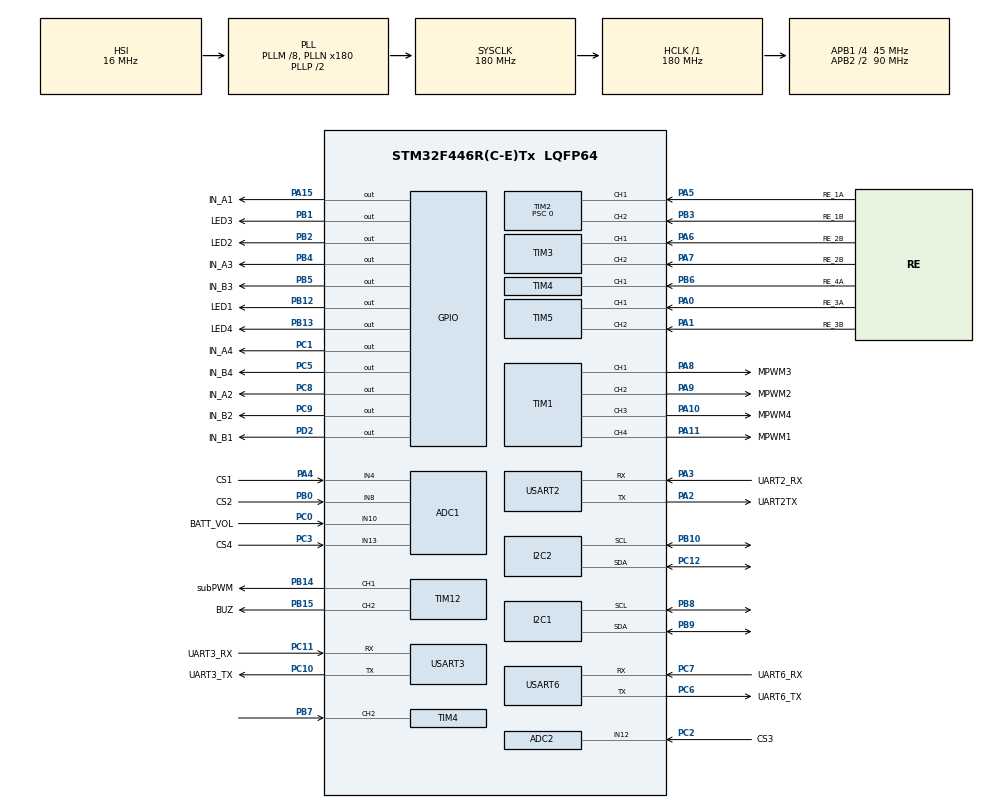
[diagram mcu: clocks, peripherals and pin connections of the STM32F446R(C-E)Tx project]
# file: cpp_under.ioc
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ADC1.Channel-0\#ChannelRegularConversion=ADC_CHANNEL_4
ADC1.ClockPrescaler=ADC_CLOCK_SYNC_PCLK_DIV4
ADC1.NbrOfConversionFlag=1
ADC1.Rank-0\#ChannelRegularConversion=1
ADC1.SamplingTime-0\#ChannelRegularConversion=ADC_SAMPLETIME_3CYCLES
ADC1.master=1
ADC2.Channel-0\#ChannelRegularConversion=ADC_CHANNEL_12
ADC2.ClockPrescaler=ADC_CLOCK_SYNC_PCLK_DIV4
ADC2.NbrOfConversionFlag=1
ADC2.Rank-0\#ChannelRegularConversion=1
ADC2.SamplingTime-0\#ChannelRegularConversion=ADC_SAMPLETIME_3CYCLES
Mcu.Family=STM32F4
Mcu.Name=STM32F446R(C-E)Tx
Mcu.Package=LQFP64
NVIC.PriorityGroup=NVIC_PRIORITYGROUP_4
NVIC.TIM2_IRQn=true\:0\:0\:false\:false\:true\:true\:true
PA0-WKUP.GPIO_Label=RE_3A
PA0-WKUP.Signal=S_TIM5_CH1
PA1.GPIO_Label=RE_3B
PA1.Signal=S_TIM5_CH2
PA10.GPIO_Label=MPWM4
PA10.Signal=S_TIM1_CH3
PA11.GPIO_Label=MPWM1
PA11.Signal=S_TIM1_CH4
PA13.GPIO_Label=SWDIO
PA13.Mode=Serial_Wire
PA13.Signal=SYS_JTMS-SWDIO
PA14.GPIO_Label=SWCLK
PA14.Mode=Serial_Wire
PA14.Signal=SYS_JTCK-SWCLK
PA15.GPIO_Label=IN_A1
PA15.Signal=GPIO_Output
PA2.GPIO_Label=UART2TX
PA2.Mode=Asynchronous
PA2.Signal=USART2_TX
PA3.GPIO_Label=UART2_RX
PA3.Mode=Asynchronous
PA3.Signal=USART2_RX
PA4.GPIO_Label=CS1
PA4.Signal=ADCx_IN4
PA5.GPIO_Label=RE_1A
PA5.Signal=S_TIM2_CH1_ETR
PA6.GPIO_Label=RE_2B
PA6.Signal=S_TIM3_CH1
PA7.GPIO_Label=RE_2B
PA7.Signal=S_TIM3_CH2
PA8.GPIO_Label=MPWM3
PA8.Signal=S_TIM1_CH1
PA9.GPIO_Label=MPWM2
PA9.Signal=S_TIM1_CH2
PB0.GPIO_Label=CS2
PB0.Signal=ADCx_IN8
PB1.GPIO_Label=LED3
PB1.Signal=GPIO_Output
PB10.Mode=I2C
PB10.Signal=I2C2_SCL
PB12.GPIO_Label=LED1
PB12.Signal=GPIO_Output
PB13.GPIO_Label=LED4
PB13.Signal=GPIO_Output
PB14.GPIO_Label=subPWM
PB14.Signal=S_TIM12_CH1
PB15.GPIO_Label=BUZ
PB15.Signal=S_TIM12_CH2
PB2.GPIO_Label=LED2
PB2.Signal=GPIO_Output
PB3.GPIO_Label=RE_1B
PB3.Signal=S_TIM2_CH2
PB4.GPIO_Label=IN_A3
PB4.Signal=GPIO_Output
PB5.GPIO_Label=IN_B3
PB5.Signal=GPIO_Output
PB6.GPIO_Label=RE_4A
PB6.Signal=S_TIM4_CH1
PB7.Signal=S_TIM4_CH2
PB8.Mode=I2C
PB8.Signal=I2C1_SCL
PB9.Mode=I2C
PB9.Signal=I2C1_SDA
PC0.GPIO_Label=BATT_VOL
PC0.Signal=ADCx_IN10
PC1.GPIO_Label=IN_A4
PC1.Signal=GPIO_Output
PC10.GPIO_Label=UART3_TX
PC10.Mode=Asynchronous
PC10.Signal=USART3_TX
PC11.GPIO_Label=UART3_RX
PC11.Mode=Asynchronous
PC11.Signal=USART3_RX
PC12.Mode=I2C
PC12.Signal=I2C2_SDA
PC14-OSC32_IN.Mode=LSE-External-Oscillator
PC14-OSC32_IN.Signal=RCC_OSC32_IN
PC15-OSC32_OUT.Mode=LSE-External-Oscillator
PC15-OSC32_OUT.Signal=RCC_OSC32_OUT
PC2.GPIO_Label=CS3
PC2.Signal=ADCx_IN12
PC3.GPIO_Label=CS4
PC3.Signal=ADCx_IN13
PC5.GPIO_Label=IN_B4
PC5.Signal=GPIO_Output
PC6.GPIO_Label=UART6_TX
PC6.Mode=Asynchronous
PC6.Signal=USART6_TX
PC7.GPIO_Label=UART6_RX
PC7.Mode=Asynchronous
PC7.Signal=USART6_RX
PC8.GPIO_Label=IN_A2
PC8.Signal=GPIO_Output
PC9.GPIO_Label=IN_B2
PC9.Signal=GPIO_Output
PD2.GPIO_Label=IN_B1
PD2.Signal=GPIO_Output
PH0-OSC_IN.Mode=HSE-External-Oscillator
PH0-OSC_IN.Signal=RCC_OSC_IN
PH1-OSC_OUT.Mode=HSE-External-Oscillator
PH1-OSC_OUT.Signal=RCC_OSC_OUT
ProjectManager.HeapSize=0x200
ProjectManager.StackSize=0x400
ProjectManager.TargetToolchain=STM32CubeIDE
RCC.AHBFreq_Value=180000000
RCC.APB1CLKDivider=RCC_HCLK_DIV4
RCC.APB1Freq_Value=45000000
RCC.APB1TimFreq_Value=90000000
RCC.APB2CLKDivider=RCC_HCLK_DIV2
RCC.APB2Freq_Value=90000000
RCC.APB2TimFreq_Value=180000000
RCC.CortexFreq_Value=180000000
RCC.HCLKFreq_Value=180000000
RCC.PLLM=8
RCC.PLLN=180
RCC.SYSCLKFreq_VALUE=180000000
RCC.SYSCLKSource=RCC_SYSCLKSOURCE_PLLCLK
RCC.USBFreq_Value=180000000
RCC.VCOOutputFreq_Value=360000000
SH.ADCx_IN10.0=ADC1_IN10,IN10
SH.ADCx_IN12.0=ADC2_IN12,IN12
SH.ADCx_IN12.1=ADC1_IN12,IN12
SH.ADCx_IN13.0=ADC1_IN13,IN13
SH.ADCx_IN4.0=ADC1_IN4,IN4
SH.ADCx_IN8.0=ADC1_IN8,IN8
SH.S_TIM12_CH1.0=TIM12_CH1,PWM Generation1 CH1
SH.S_TIM12_CH2.0=TIM12_CH2,PWM Generation2 CH2
SH.S_TIM1_CH1.0=TIM1_CH1,PWM Generation1 CH1
SH.S_TIM1_CH2.0=TIM1_CH2,PWM Generation2 CH2
SH.S_TIM1_CH3.0=TIM1_CH3,PWM Generation3 CH3
SH.S_TIM1_CH4.0=TIM1_CH4,PWM Generation4 CH4
SH.S_TIM2_CH1_ETR.0=TIM2_CH1,Encoder_Interface
SH.S_TIM2_CH2.0=TIM2_CH2,Encoder_Interface
SH.S_TIM3_CH1.0=TIM3_CH1,Encoder_Interface
SH.S_TIM3_CH2.0=TIM3_CH2,Encoder_Interface
SH.S_TIM4_CH1.0=TIM4_CH1,Encoder_Interface
SH.S_TIM4_CH2.0=TIM4_CH2,Encoder_Interface
SH.S_TIM5_CH1.0=TIM5_CH1,Encoder_Interface
SH.S_TIM5_CH2.0=TIM5_CH2,Encoder_Interface
TIM1.Channel-PWM\ Generation1\ CH1=TIM_CHANNEL_1
TIM1.Channel-PWM\ Generation2\ CH2=TIM_CHANNEL_2
TIM1.Channel-PWM\ Generation3\ CH3=TIM_CHANNEL_3
TIM1.Channel-PWM\ Generation4\ CH4=TIM_CHANNEL_4
TIM12.Channel-PWM\ Generation1\ CH1=TIM_CHANNEL_1
TIM12.Channel-PWM\ Generation2\ CH2=TIM_CHANNEL_2
TIM2.Period=9000
TIM2.Prescaler=0
USART2.VirtualMode=VM_ASYNC
USART3.VirtualMode=VM_ASYNC
USART6.VirtualMode=VM_ASYNC
VP_TIM12_VS_ClockSourceINT.Mode=Internal
VP_TIM1_VS_ClockSourceINT.Mode=Internal
VP_TIM9_VS_ClockSourceINT.Mode=Internal
board=custom

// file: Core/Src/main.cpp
/* USER CODE BEGIN Header */
/**
  ******************************************************************************
  * @file           : main.c
  * @brief          : Main program body
  ******************************************************************************
  * @attention
  *
  * <h2><center>&copy; Copyright (c) 2021 STMicroelectronics.
  * All rights reserved.</center></h2>
  *
  * This software component is licensed by ST under BSD 3-Clause license,
  * the "License"; You may not use this file except in compliance with the
  * License. You may obtain a copy of the License at:
  *                        opensource.org/licenses/BSD-3-Clause
  *
  ******************************************************************************
  */
/* USER CODE END Header */
#include "main.h"

/* USER CODE BEGIN Includes */
#include<array>
#include<cmath>
#include <bits/stdc++.h>
#include"../Inc/stm32_library/inc/MD.hpp"
#include"../Inc/stm32_library/inc/Rotary_Encoder.h"
#include"../Inc/inc/rad_to_pulse.h"
#include"../Inc/inc/circle.h"
#include"../Inc/inc/PID.h"
/* USER CODE END Includes */

ADC_HandleTypeDef hadc1;
ADC_HandleTypeDef hadc2;

I2C_HandleTypeDef hi2c1;
I2C_HandleTypeDef hi2c2;

TIM_HandleTypeDef htim1;
TIM_HandleTypeDef htim2;
TIM_HandleTypeDef htim3;
TIM_HandleTypeDef htim4;
TIM_HandleTypeDef htim5;
TIM_HandleTypeDef htim9;
TIM_HandleTypeDef htim12;

UART_HandleTypeDef huart2;
UART_HandleTypeDef huart3;
UART_HandleTypeDef huart6;

void SystemClock_Config(void);
static void MX_GPIO_Init(void);
static void MX_ADC1_Init(void);
static void MX_ADC2_Init(void);
static void MX_I2C1_Init(void);
static void MX_I2C2_Init(void);
static void MX_TIM1_Init(void);
static void MX_TIM2_Init(void);
static void MX_TIM3_Init(void);
static void MX_TIM4_Init(void);
static void MX_TIM12_Init(void);
static void MX_USART2_UART_Init(void);
static void MX_USART3_UART_Init(void);
static void MX_USART6_UART_Init(void);
static void MX_TIM5_Init(void);
static void MX_TIM9_Init(void);

/* USER CODE BEGIN 0 */
//static MD_stm test1(IN_A1_GPIO_Port, IN_A1_Pin, IN_B1_GPIO_Port, IN_B1_Pin, &htim1, TIM_CHANNEL_4);

void HAL_TIM_PeriodElapsedCallback(TIM_HandleTypeDef *htim){

}
/* USER CODE END 0 */

int main(void)
{

  /* MCU Configuration--------------------------------------------------------*/

  /* Reset of all peripherals, Initializes the Flash interface and the Systick. */
  HAL_Init();

  /* Configure the system clock */
  SystemClock_Config();

  /* Initialize all configured peripherals */
  MX_GPIO_Init();
  MX_ADC1_Init();
  MX_ADC2_Init();
  MX_I2C1_Init();
  MX_I2C2_Init();
  MX_TIM1_Init();
  MX_TIM2_Init();
  MX_TIM3_Init();
  MX_TIM4_Init();
  MX_TIM12_Init();
  MX_USART2_UART_Init();
  MX_USART3_UART_Init();
  MX_USART6_UART_Init();
  MX_TIM5_Init();
  MX_TIM9_Init();
  /* USER CODE BEGIN 2 */
  HAL_GPIO_WritePin(LED1_GPIO_Port, LED1_Pin, GPIO_PIN_SET);

    MD_stm Move_1(IN_A1_GPIO_Port, IN_A1_Pin, IN_B1_GPIO_Port, IN_B1_Pin, &htim1, TIM_CHANNEL_4);
    MD_stm Move_2(IN_A2_GPIO_Port, IN_A2_Pin, IN_B2_GPIO_Port, IN_B2_Pin, &htim1, TIM_CHANNEL_2);

    stm32_Rotary_Encoder Encoder_Right(&htim2);
	stm32_Rotary_Encoder Encoder_Left(&htim3);

	constexpr int rotary_encoder_resolution_r = -800,
			      rotary_encoder_resolution_l = -400;

	rad_to_pulse change_r(-800);
	rad_to_pulse change_l(-400);

	float Ku_r = 800;
	float Tu_r = 0.6;
	float Ku_l = 400;
	float Tu_l = 0.7;
    PosType_PID PID1(0.01, 0.4*Ku_r, 0.5*Tu_r, 0.125*Tu_r);
    PosType_PID PID2(0.01, 0.4*Ku_l, 0.5*Tu_l, 0.125*Tu_l);

    constexpr int32_t init_spd_pwm = 0;
	int32_t now_pwm_r = init_spd_pwm;
	int32_t now_pwm_l = init_spd_pwm;

	std::array<uint32_t, 2> Encoder_Count_r = {0}, Encoder_Count_l = {0};
	float Angular_Velocity_r, Angular_Velocity_l;

	float target_spd = 0;//change_r(target_val_rad);
	//change_l(target_val_rad);

	char variable[2]{
		48,//0
		120//x
	};

	char value[5];
	value[4] = 10;
	std::array<int, 4> num;

	int k1, k2;

  /* USER CODE END 2 */

  /* Infinite loop */
  /* USER CODE BEGIN WHILE */
uint32_t counter = 0;
uint32_t enc_counter = 0;
uint32_t tim_counter = 0;

float accel = 0.25;
constexpr float radius = 0.040;
    while (1)
    {
    	HAL_GPIO_TogglePin (LED1_GPIO_Port, LED1_Pin);
    	/*
    	 * rpm/15 = t
    	 * t   : time
    	 * rpm : revolution per minute
    	 * acceleration max : 0.25 [m/s^2]
    	 */

    	HAL_Delay(10);//control cycle about 100Hz

    	tim_counter++;
    	if(tim_counter > 1000){
    		while(1);
    	}

    	{//spd setter
    		if(tim_counter < 200){
    			target_spd += 0.01*accel/ (radius);
    		}else if(tim_counter < 800){

    		}else{
    			target_spd-= 0.01*accel/ (radius);
    		}
    	}
/*
    	if(__HAL_TIM_GET_COUNTER(&htim2) == 0){
    		__HAL_TIM_GET_COUNTER(&htim2) = 1;
    	}
    	if(__HAL_TIM_GET_COUNTER(&htim3) == 0){
			__HAL_TIM_GET_COUNTER(&htim3) = 1;
		}

    	k1 = now_pwm_r / __HAL_TIM_GET_COUNTER(&htim2)*0.1;
    	k2 = now_pwm_l / __HAL_TIM_GET_COUNTER(&htim3)*0.1;

*/
    	TIM_HandleTypeDef*htim = &htim2;
    	enc_counter += __HAL_TIM_GET_COUNTER(htim);
    	counter++;
    	if(counter == 10){//get transmit num
    		num[0] = (0xF000&enc_counter)/0x1000;
    		num[1] = (0x0F00&enc_counter)/0x0100;
    		num[2] = (0x00F0&enc_counter)/0x0010;
			num[3] = (0x000F&enc_counter)/0x0001;

			for(int i = 0; i < 4; i++){
				if(num[i] <= 9 && num[i] >= 0){
					value[i] = num[i] + 48;//num change to character of num
				}else if(num[i] <= 15 && num[i] >= 10){
					value[i] = num[i] + 55;//16 bit num from 10 to 15 change to character of A to F
				}else{
					value[i] = 89;//y
				}
				enc_counter = 0;
				counter = 0;
			}

    		HAL_UART_Transmit(&huart2, (uint8_t*)variable, sizeof(variable), 0xff);

    		HAL_UART_Transmit(&huart2, (uint8_t*)value, sizeof(value), 0xff);

			for(int i = 0; i < 4; i++){
				value[i] = 90;//z
			}
    	}

    	Encoder_Count_r[1] = Encoder_Count_r[0];
    	Encoder_Count_r[0] = Encoder_Right();
    	Encoder_Count_l[1] = Encoder_Count_l[0];
    	Encoder_Count_l[0] = Encoder_Left();

    	k1 = 1;
    	k2 = 1;
    	if(Encoder_Count_r[0] > 0xffff/2){
    		Encoder_Count_r[0] = 0xffff - Encoder_Count_r[0];
    		k1 = -1;
    	}

    	if(Encoder_Count_l[0] > 0xffff/2){
			Encoder_Count_l[0] = 0xffff - Encoder_Count_l[0];
			k2 = -1;
		}

    	Angular_Velocity_r = (Encoder_Count_r[0]) * 2*M_PI / (rotary_encoder_resolution_r*2) / 0.01*k1;
    	Angular_Velocity_l = (Encoder_Count_l[0]) * 2*M_PI / (rotary_encoder_resolution_l) / 0.01*k2;

    	float dif_spd_r = target_spd - Angular_Velocity_r;
    	float dif_spd_l = 2*M_PI - Angular_Velocity_l;

    	now_pwm_r += PID1(dif_spd_r);
    	now_pwm_l += PID2(dif_spd_l);

    	Move_1 = now_pwm_r;
    	//Move_2 = now_pwm_l;
    /* USER CODE END WHILE */

  }
}

void SystemClock_Config(void)
{
  RCC_OscInitTypeDef RCC_OscInitStruct = {0};
  RCC_ClkInitTypeDef RCC_ClkInitStruct = {0};

  /** Configure the main internal regulator output voltage
  */
  __HAL_RCC_PWR_CLK_ENABLE();
  __HAL_PWR_VOLTAGESCALING_CONFIG(PWR_REGULATOR_VOLTAGE_SCALE1);
  /** Initializes the RCC Oscillators according to the specified parameters
  * in the RCC_OscInitTypeDef structure.
  */
  RCC_OscInitStruct.OscillatorType = RCC_OSCILLATORTYPE_HSI;
  RCC_OscInitStruct.HSIState = RCC_HSI_ON;
  RCC_OscInitStruct.HSICalibrationValue = RCC_HSICALIBRATION_DEFAULT;
  RCC_OscInitStruct.PLL.PLLState = RCC_PLL_ON;
  RCC_OscInitStruct.PLL.PLLSource = RCC_PLLSOURCE_HSI;
  RCC_OscInitStruct.PLL.PLLM = 8;
  RCC_OscInitStruct.PLL.PLLN = 180;
  RCC_OscInitStruct.PLL.PLLP = RCC_PLLP_DIV2;
  RCC_OscInitStruct.PLL.PLLQ = 2;
  RCC_OscInitStruct.PLL.PLLR = 2;
  if (HAL_RCC_OscConfig(&RCC_OscInitStruct) != HAL_OK)
  {
    Error_Handler();
  }
  /** Activate the Over-Drive mode
  */
  if (HAL_PWREx_EnableOverDrive() != HAL_OK)
  {
    Error_Handler();
  }
  /** Initializes the CPU, AHB and APB buses clocks
  */
  RCC_ClkInitStruct.ClockType = RCC_CLOCKTYPE_HCLK|RCC_CLOCKTYPE_SYSCLK
                              |RCC_CLOCKTYPE_PCLK1|RCC_CLOCKTYPE_PCLK2;
  RCC_ClkInitStruct.SYSCLKSource = RCC_SYSCLKSOURCE_PLLCLK;
  RCC_ClkInitStruct.AHBCLKDivider = RCC_SYSCLK_DIV1;
  RCC_ClkInitStruct.APB1CLKDivider = RCC_HCLK_DIV4;
  RCC_ClkInitStruct.APB2CLKDivider = RCC_HCLK_DIV2;

  if (HAL_RCC_ClockConfig(&RCC_ClkInitStruct, FLASH_LATENCY_5) != HAL_OK)
  {
    Error_Handler();
  }
}

static void MX_ADC1_Init(void)
{

  ADC_ChannelConfTypeDef sConfig = {0};

  /** Configure the global features of the ADC (Clock, Resolution, Data Alignment and number of conversion)
  */
  hadc1.Instance = ADC1;
  hadc1.Init.ClockPrescaler = ADC_CLOCK_SYNC_PCLK_DIV4;
  hadc1.Init.Resolution = ADC_RESOLUTION_12B;
  hadc1.Init.ScanConvMode = DISABLE;
  hadc1.Init.ContinuousConvMode = DISABLE;
  hadc1.Init.DiscontinuousConvMode = DISABLE;
  hadc1.Init.ExternalTrigConvEdge = ADC_EXTERNALTRIGCONVEDGE_NONE;
  hadc1.Init.ExternalTrigConv = ADC_SOFTWARE_START;
  hadc1.Init.DataAlign = ADC_DATAALIGN_RIGHT;
  hadc1.Init.NbrOfConversion = 1;
  hadc1.Init.DMAContinuousRequests = DISABLE;
  hadc1.Init.EOCSelection = ADC_EOC_SINGLE_CONV;
  if (HAL_ADC_Init(&hadc1) != HAL_OK)
  {
    Error_Handler();
  }
  /** Configure for the selected ADC regular channel its corresponding rank in the sequencer and its sample time.
  */
  sConfig.Channel = ADC_CHANNEL_4;
  sConfig.Rank = 1;
  sConfig.SamplingTime = ADC_SAMPLETIME_3CYCLES;
  if (HAL_ADC_ConfigChannel(&hadc1, &sConfig) != HAL_OK)
  {
    Error_Handler();
  }

}

static void MX_ADC2_Init(void)
{

  ADC_ChannelConfTypeDef sConfig = {0};

  /** Configure the global features of the ADC (Clock, Resolution, Data Alignment and number of conversion)
  */
  hadc2.Instance = ADC2;
  hadc2.Init.ClockPrescaler = ADC_CLOCK_SYNC_PCLK_DIV4;
  hadc2.Init.Resolution = ADC_RESOLUTION_12B;
  hadc2.Init.ScanConvMode = DISABLE;
  hadc2.Init.ContinuousConvMode = DISABLE;
  hadc2.Init.DiscontinuousConvMode = DISABLE;
  hadc2.Init.ExternalTrigConvEdge = ADC_EXTERNALTRIGCONVEDGE_NONE;
  hadc2.Init.ExternalTrigConv = ADC_SOFTWARE_START;
  hadc2.Init.DataAlign = ADC_DATAALIGN_RIGHT;
  hadc2.Init.NbrOfConversion = 1;
  hadc2.Init.DMAContinuousRequests = DISABLE;
  hadc2.Init.EOCSelection = ADC_EOC_SINGLE_CONV;
  if (HAL_ADC_Init(&hadc2) != HAL_OK)
  {
    Error_Handler();
  }
  /** Configure for the selected ADC regular channel its corresponding rank in the sequencer and its sample time.
  */
  sConfig.Channel = ADC_CHANNEL_12;
  sConfig.Rank = 1;
  sConfig.SamplingTime = ADC_SAMPLETIME_3CYCLES;
  if (HAL_ADC_ConfigChannel(&hadc2, &sConfig) != HAL_OK)
  {
    Error_Handler();
  }

}

static void MX_I2C1_Init(void)
{

  hi2c1.Instance = I2C1;
  hi2c1.Init.ClockSpeed = 100000;
  hi2c1.Init.DutyCycle = I2C_DUTYCYCLE_2;
  hi2c1.Init.OwnAddress1 = 0;
  hi2c1.Init.AddressingMode = I2C_ADDRESSINGMODE_7BIT;
  hi2c1.Init.DualAddressMode = I2C_DUALADDRESS_DISABLE;
  hi2c1.Init.OwnAddress2 = 0;
  hi2c1.Init.GeneralCallMode = I2C_GENERALCALL_DISABLE;
  hi2c1.Init.NoStretchMode = I2C_NOSTRETCH_DISABLE;
  if (HAL_I2C_Init(&hi2c1) != HAL_OK)
  {
    Error_Handler();
  }

}

static void MX_I2C2_Init(void)
{

  hi2c2.Instance = I2C2;
  hi2c2.Init.ClockSpeed = 100000;
  hi2c2.Init.DutyCycle = I2C_DUTYCYCLE_2;
  hi2c2.Init.OwnAddress1 = 0;
  hi2c2.Init.AddressingMode = I2C_ADDRESSINGMODE_7BIT;
  hi2c2.Init.DualAddressMode = I2C_DUALADDRESS_DISABLE;
  hi2c2.Init.OwnAddress2 = 0;
  hi2c2.Init.GeneralCallMode = I2C_GENERALCALL_DISABLE;
  hi2c2.Init.NoStretchMode = I2C_NOSTRETCH_DISABLE;
  if (HAL_I2C_Init(&hi2c2) != HAL_OK)
  {
    Error_Handler();
  }

}

static void MX_TIM1_Init(void)
{

  TIM_ClockConfigTypeDef sClockSourceConfig = {0};
  TIM_MasterConfigTypeDef sMasterConfig = {0};
  TIM_OC_InitTypeDef sConfigOC = {0};
  TIM_BreakDeadTimeConfigTypeDef sBreakDeadTimeConfig = {0};

  htim1.Instance = TIM1;
  htim1.Init.Prescaler = 0;
  htim1.Init.CounterMode = TIM_COUNTERMODE_UP;
  htim1.Init.Period = 65535;
  htim1.Init.ClockDivision = TIM_CLOCKDIVISION_DIV1;
  htim1.Init.RepetitionCounter = 0;
  htim1.Init.AutoReloadPreload = TIM_AUTORELOAD_PRELOAD_DISABLE;
  if (HAL_TIM_Base_Init(&htim1) != HAL_OK)
  {
    Error_Handler();
  }
  sClockSourceConfig.ClockSource = TIM_CLOCKSOURCE_INTERNAL;
  if (HAL_TIM_ConfigClockSource(&htim1, &sClockSourceConfig) != HAL_OK)
  {
    Error_Handler();
  }
  if (HAL_TIM_PWM_Init(&htim1) != HAL_OK)
  {
    Error_Handler();
  }
  sMasterConfig.MasterOutputTrigger = TIM_TRGO_RESET;
  sMasterConfig.MasterSlaveMode = TIM_MASTERSLAVEMODE_DISABLE;
  if (HAL_TIMEx_MasterConfigSynchronization(&htim1, &sMasterConfig) != HAL_OK)
  {
    Error_Handler();
  }
  sConfigOC.OCMode = TIM_OCMODE_PWM1;
  sConfigOC.Pulse = 0;
  sConfigOC.OCPolarity = TIM_OCPOLARITY_HIGH;
  sConfigOC.OCNPolarity = TIM_OCNPOLARITY_HIGH;
  sConfigOC.OCFastMode = TIM_OCFAST_DISABLE;
  sConfigOC.OCIdleState = TIM_OCIDLESTATE_RESET;
  sConfigOC.OCNIdleState = TIM_OCNIDLESTATE_RESET;
  if (HAL_TIM_PWM_ConfigChannel(&htim1, &sConfigOC, TIM_CHANNEL_1) != HAL_OK)
  {
    Error_Handler();
  }
  if (HAL_TIM_PWM_ConfigChannel(&htim1, &sConfigOC, TIM_CHANNEL_2) != HAL_OK)
  {
    Error_Handler();
  }
  if (HAL_TIM_PWM_ConfigChannel(&htim1, &sConfigOC, TIM_CHANNEL_3) != HAL_OK)
  {
    Error_Handler();
  }
  if (HAL_TIM_PWM_ConfigChannel(&htim1, &sConfigOC, TIM_CHANNEL_4) != HAL_OK)
  {
    Error_Handler();
  }
  sBreakDeadTimeConfig.OffStateRunMode = TIM_OSSR_DISABLE;
  sBreakDeadTimeConfig.OffStateIDLEMode = TIM_OSSI_DISABLE;
  sBreakDeadTimeConfig.LockLevel = TIM_LOCKLEVEL_OFF;
  sBreakDeadTimeConfig.DeadTime = 0;
  sBreakDeadTimeConfig.BreakState = TIM_BREAK_DISABLE;
  sBreakDeadTimeConfig.BreakPolarity = TIM_BREAKPOLARITY_HIGH;
  sBreakDeadTimeConfig.AutomaticOutput = TIM_AUTOMATICOUTPUT_DISABLE;
  if (HAL_TIMEx_ConfigBreakDeadTime(&htim1, &sBreakDeadTimeConfig) != HAL_OK)
  {
    Error_Handler();
  }
  HAL_TIM_MspPostInit(&htim1);

}

static void MX_TIM2_Init(void)
{

  TIM_Encoder_InitTypeDef sConfig = {0};
  TIM_MasterConfigTypeDef sMasterConfig = {0};

  htim2.Instance = TIM2;
  htim2.Init.Prescaler = 0;
  htim2.Init.CounterMode = TIM_COUNTERMODE_UP;
  htim2.Init.Period = 65535;
  htim2.Init.ClockDivision = TIM_CLOCKDIVISION_DIV1;
  htim2.Init.AutoReloadPreload = TIM_AUTORELOAD_PRELOAD_DISABLE;
  sConfig.EncoderMode = TIM_ENCODERMODE_TI1;
  sConfig.IC1Polarity = TIM_ICPOLARITY_RISING;
  sConfig.IC1Selection = TIM_ICSELECTION_DIRECTTI;
  sConfig.IC1Prescaler = TIM_ICPSC_DIV1;
  sConfig.IC1Filter = 0;
  sConfig.IC2Polarity = TIM_ICPOLARITY_RISING;
  sConfig.IC2Selection = TIM_ICSELECTION_DIRECTTI;
  sConfig.IC2Prescaler = TIM_ICPSC_DIV1;
  sConfig.IC2Filter = 0;
  if (HAL_TIM_Encoder_Init(&htim2, &sConfig) != HAL_OK)
  {
    Error_Handler();
  }
  sMasterConfig.MasterOutputTrigger = TIM_TRGO_RESET;
  sMasterConfig.MasterSlaveMode = TIM_MASTERSLAVEMODE_DISABLE;
  if (HAL_TIMEx_MasterConfigSynchronization(&htim2, &sMasterConfig) != HAL_OK)
  {
    Error_Handler();
  }

}

static void MX_TIM3_Init(void)
{

  TIM_Encoder_InitTypeDef sConfig = {0};
  TIM_MasterConfigTypeDef sMasterConfig = {0};

  htim3.Instance = TIM3;
  htim3.Init.Prescaler = 0;
  htim3.Init.CounterMode = TIM_COUNTERMODE_UP;
  htim3.Init.Period = 65535;
  htim3.Init.ClockDivision = TIM_CLOCKDIVISION_DIV1;
  htim3.Init.AutoReloadPreload = TIM_AUTORELOAD_PRELOAD_DISABLE;
  sConfig.EncoderMode = TIM_ENCODERMODE_TI1;
  sConfig.IC1Polarity = TIM_ICPOLARITY_RISING;
  sConfig.IC1Selection = TIM_ICSELECTION_DIRECTTI;
  sConfig.IC1Prescaler = TIM_ICPSC_DIV1;
  sConfig.IC1Filter = 0;
  sConfig.IC2Polarity = TIM_ICPOLARITY_RISING;
  sConfig.IC2Selection = TIM_ICSELECTION_DIRECTTI;
  sConfig.IC2Prescaler = TIM_ICPSC_DIV1;
  sConfig.IC2Filter = 0;
  if (HAL_TIM_Encoder_Init(&htim3, &sConfig) != HAL_OK)
  {
    Error_Handler();
  }
  sMasterConfig.MasterOutputTrigger = TIM_TRGO_RESET;
  sMasterConfig.MasterSlaveMode = TIM_MASTERSLAVEMODE_DISABLE;
  if (HAL_TIMEx_MasterConfigSynchronization(&htim3, &sMasterConfig) != HAL_OK)
  {
    Error_Handler();
  }

}

static void MX_TIM4_Init(void)
{

  TIM_Encoder_InitTypeDef sConfig = {0};
  TIM_MasterConfigTypeDef sMasterConfig = {0};

  htim4.Instance = TIM4;
  htim4.Init.Prescaler = 0;
  htim4.Init.CounterMode = TIM_COUNTERMODE_UP;
  htim4.Init.Period = 65535;
  htim4.Init.ClockDivision = TIM_CLOCKDIVISION_DIV1;
  htim4.Init.AutoReloadPreload = TIM_AUTORELOAD_PRELOAD_DISABLE;
  sConfig.EncoderMode = TIM_ENCODERMODE_TI1;
  sConfig.IC1Polarity = TIM_ICPOLARITY_RISING;
  sConfig.IC1Selection = TIM_ICSELECTION_DIRECTTI;
  sConfig.IC1Prescaler = TIM_ICPSC_DIV1;
  sConfig.IC1Filter = 0;
  sConfig.IC2Polarity = TIM_ICPOLARITY_RISING;
  sConfig.IC2Selection = TIM_ICSELECTION_DIRECTTI;
  sConfig.IC2Prescaler = TIM_ICPSC_DIV1;
  sConfig.IC2Filter = 0;
  if (HAL_TIM_Encoder_Init(&htim4, &sConfig) != HAL_OK)
  {
    Error_Handler();
  }
  sMasterConfig.MasterOutputTrigger = TIM_TRGO_RESET;
  sMasterConfig.MasterSlaveMode = TIM_MASTERSLAVEMODE_DISABLE;
  if (HAL_TIMEx_MasterConfigSynchronization(&htim4, &sMasterConfig) != HAL_OK)
  {
    Error_Handler();
  }

}

static void MX_TIM5_Init(void)
{

  TIM_Encoder_InitTypeDef sConfig = {0};
  TIM_MasterConfigTypeDef sMasterConfig = {0};

  htim5.Instance = TIM5;
  htim5.Init.Prescaler = 0;
  htim5.Init.CounterMode = TIM_COUNTERMODE_UP;
  htim5.Init.Period = 4294967295;
  htim5.Init.ClockDivision = TIM_CLOCKDIVISION_DIV1;
  htim5.Init.AutoReloadPreload = TIM_AUTORELOAD_PRELOAD_DISABLE;
  sConfig.EncoderMode = TIM_ENCODERMODE_TI1;
  sConfig.IC1Polarity = TIM_ICPOLARITY_RISING;
  sConfig.IC1Selection = TIM_ICSELECTION_DIRECTTI;
  sConfig.IC1Prescaler = TIM_ICPSC_DIV1;
  sConfig.IC1Filter = 0;
  sConfig.IC2Polarity = TIM_ICPOLARITY_RISING;
  sConfig.IC2Selection = TIM_ICSELECTION_DIRECTTI;
  sConfig.IC2Prescaler = TIM_ICPSC_DIV1;
  sConfig.IC2Filter = 0;
  if (HAL_TIM_Encoder_Init(&htim5, &sConfig) != HAL_OK)
  {
    Error_Handler();
  }
  sMasterConfig.MasterOutputTrigger = TIM_TRGO_RESET;
  sMasterConfig.MasterSlaveMode = TIM_MASTERSLAVEMODE_DISABLE;
  if (HAL_TIMEx_MasterConfigSynchronization(&htim5, &sMasterConfig) != HAL_OK)
  {
    Error_Handler();
  }

}

static void MX_TIM9_Init(void)
{

  TIM_ClockConfigTypeDef sClockSourceConfig = {0};

  htim9.Instance = TIM9;
  htim9.Init.Prescaler = 0;
  htim9.Init.CounterMode = TIM_COUNTERMODE_UP;
  htim9.Init.Period = 65535;
  htim9.Init.ClockDivision = TIM_CLOCKDIVISION_DIV1;
  htim9.Init.AutoReloadPreload = TIM_AUTORELOAD_PRELOAD_DISABLE;
  if (HAL_TIM_Base_Init(&htim9) != HAL_OK)
  {
    Error_Handler();
  }
  sClockSourceConfig.ClockSource = TIM_CLOCKSOURCE_INTERNAL;
  if (HAL_TIM_ConfigClockSource(&htim9, &sClockSourceConfig) != HAL_OK)
  {
    Error_Handler();
  }

}

static void MX_TIM12_Init(void)
{

  TIM_ClockConfigTypeDef sClockSourceConfig = {0};
  TIM_OC_InitTypeDef sConfigOC = {0};

  htim12.Instance = TIM12;
  htim12.Init.Prescaler = 0;
  htim12.Init.CounterMode = TIM_COUNTERMODE_UP;
  htim12.Init.Period = 65535;
  htim12.Init.ClockDivision = TIM_CLOCKDIVISION_DIV1;
  htim12.Init.AutoReloadPreload = TIM_AUTORELOAD_PRELOAD_DISABLE;
  if (HAL_TIM_Base_Init(&htim12) != HAL_OK)
  {
    Error_Handler();
  }
  sClockSourceConfig.ClockSource = TIM_CLOCKSOURCE_INTERNAL;
  if (HAL_TIM_ConfigClockSource(&htim12, &sClockSourceConfig) != HAL_OK)
  {
    Error_Handler();
  }
  if (HAL_TIM_PWM_Init(&htim12) != HAL_OK)
  {
    Error_Handler();
  }
  sConfigOC.OCMode = TIM_OCMODE_PWM1;
  sConfigOC.Pulse = 0;
  sConfigOC.OCPolarity = TIM_OCPOLARITY_HIGH;
  sConfigOC.OCFastMode = TIM_OCFAST_DISABLE;
  if (HAL_TIM_PWM_ConfigChannel(&htim12, &sConfigOC, TIM_CHANNEL_1) != HAL_OK)
  {
    Error_Handler();
  }
  if (HAL_TIM_PWM_ConfigChannel(&htim12, &sConfigOC, TIM_CHANNEL_2) != HAL_OK)
  {
    Error_Handler();
  }
  HAL_TIM_MspPostInit(&htim12);

}

static void MX_USART2_UART_Init(void)
{

  huart2.Instance = USART2;
  huart2.Init.BaudRate = 115200;
  huart2.Init.WordLength = UART_WORDLENGTH_8B;
  huart2.Init.StopBits = UART_STOPBITS_1;
  huart2.Init.Parity = UART_PARITY_NONE;
  huart2.Init.Mode = UART_MODE_TX_RX;
  huart2.Init.HwFlowCtl = UART_HWCONTROL_NONE;
  huart2.Init.OverSampling = UART_OVERSAMPLING_16;
  if (HAL_UART_Init(&huart2) != HAL_OK)
  {
    Error_Handler();
  }

}

static void MX_USART3_UART_Init(void)
{

  huart3.Instance = USART3;
  huart3.Init.BaudRate = 115200;
  huart3.Init.WordLength = UART_WORDLENGTH_8B;
  huart3.Init.StopBits = UART_STOPBITS_1;
  huart3.Init.Parity = UART_PARITY_NONE;
  huart3.Init.Mode = UART_MODE_TX_RX;
  huart3.Init.HwFlowCtl = UART_HWCONTROL_NONE;
  huart3.Init.OverSampling = UART_OVERSAMPLING_16;
  if (HAL_UART_Init(&huart3) != HAL_OK)
  {
    Error_Handler();
  }

}

static void MX_USART6_UART_Init(void)
{

  huart6.Instance = USART6;
  huart6.Init.BaudRate = 115200;
  huart6.Init.WordLength = UART_WORDLENGTH_8B;
  huart6.Init.StopBits = UART_STOPBITS_1;
  huart6.Init.Parity = UART_PARITY_NONE;
  huart6.Init.Mode = UART_MODE_TX_RX;
  huart6.Init.HwFlowCtl = UART_HWCONTROL_NONE;
  huart6.Init.OverSampling = UART_OVERSAMPLING_16;
  if (HAL_UART_Init(&huart6) != HAL_OK)
  {
    Error_Handler();
  }

}

static void MX_GPIO_Init(void)
{
  GPIO_InitTypeDef GPIO_InitStruct = {0};

  /* GPIO Ports Clock Enable */
  __HAL_RCC_GPIOC_CLK_ENABLE();
  __HAL_RCC_GPIOH_CLK_ENABLE();
  __HAL_RCC_GPIOA_CLK_ENABLE();
  __HAL_RCC_GPIOB_CLK_ENABLE();
  __HAL_RCC_GPIOD_CLK_ENABLE();

  /*Configure GPIO pin Output Level */
  HAL_GPIO_WritePin(GPIOC, IN_A4_Pin|IN_B4_Pin|IN_A2_Pin|IN_B2_Pin, GPIO_PIN_RESET);

  /*Configure GPIO pin Output Level */
  HAL_GPIO_WritePin(GPIOB, LED3_Pin|LED2_Pin|LED1_Pin|LED4_Pin
                          |IN_A3_Pin|IN_B3_Pin, GPIO_PIN_RESET);

  /*Configure GPIO pin Output Level */
  HAL_GPIO_WritePin(IN_A1_GPIO_Port, IN_A1_Pin, GPIO_PIN_RESET);

  /*Configure GPIO pin Output Level */
  HAL_GPIO_WritePin(IN_B1_GPIO_Port, IN_B1_Pin, GPIO_PIN_RESET);

  /*Configure GPIO pins : IN_A4_Pin IN_B4_Pin IN_A2_Pin IN_B2_Pin */
  GPIO_InitStruct.Pin = IN_A4_Pin|IN_B4_Pin|IN_A2_Pin|IN_B2_Pin;
  GPIO_InitStruct.Mode = GPIO_MODE_OUTPUT_PP;
  GPIO_InitStruct.Pull = GPIO_NOPULL;
  GPIO_InitStruct.Speed = GPIO_SPEED_FREQ_LOW;
  HAL_GPIO_Init(GPIOC, &GPIO_InitStruct);

  /*Configure GPIO pins : LED3_Pin LED2_Pin LED1_Pin LED4_Pin
                           IN_A3_Pin IN_B3_Pin */
  GPIO_InitStruct.Pin = LED3_Pin|LED2_Pin|LED1_Pin|LED4_Pin
                          |IN_A3_Pin|IN_B3_Pin;
  GPIO_InitStruct.Mode = GPIO_MODE_OUTPUT_PP;
  GPIO_InitStruct.Pull = GPIO_NOPULL;
  GPIO_InitStruct.Speed = GPIO_SPEED_FREQ_LOW;
  HAL_GPIO_Init(GPIOB, &GPIO_InitStruct);

  /*Configure GPIO pin : IN_A1_Pin */
  GPIO_InitStruct.Pin = IN_A1_Pin;
  GPIO_InitStruct.Mode = GPIO_MODE_OUTPUT_PP;
  GPIO_InitStruct.Pull = GPIO_NOPULL;
  GPIO_InitStruct.Speed = GPIO_SPEED_FREQ_LOW;
  HAL_GPIO_Init(IN_A1_GPIO_Port, &GPIO_InitStruct);

  /*Configure GPIO pin : IN_B1_Pin */
  GPIO_InitStruct.Pin = IN_B1_Pin;
  GPIO_InitStruct.Mode = GPIO_MODE_OUTPUT_PP;
  GPIO_InitStruct.Pull = GPIO_NOPULL;
  GPIO_InitStruct.Speed = GPIO_SPEED_FREQ_LOW;
  HAL_GPIO_Init(IN_B1_GPIO_Port, &GPIO_InitStruct);

}

void Error_Handler(void)
{
  __disable_irq();
  while (1)
  {
  }
}

/************************ (C) COPYRIGHT STMicroelectronics *****END OF FILE****/
